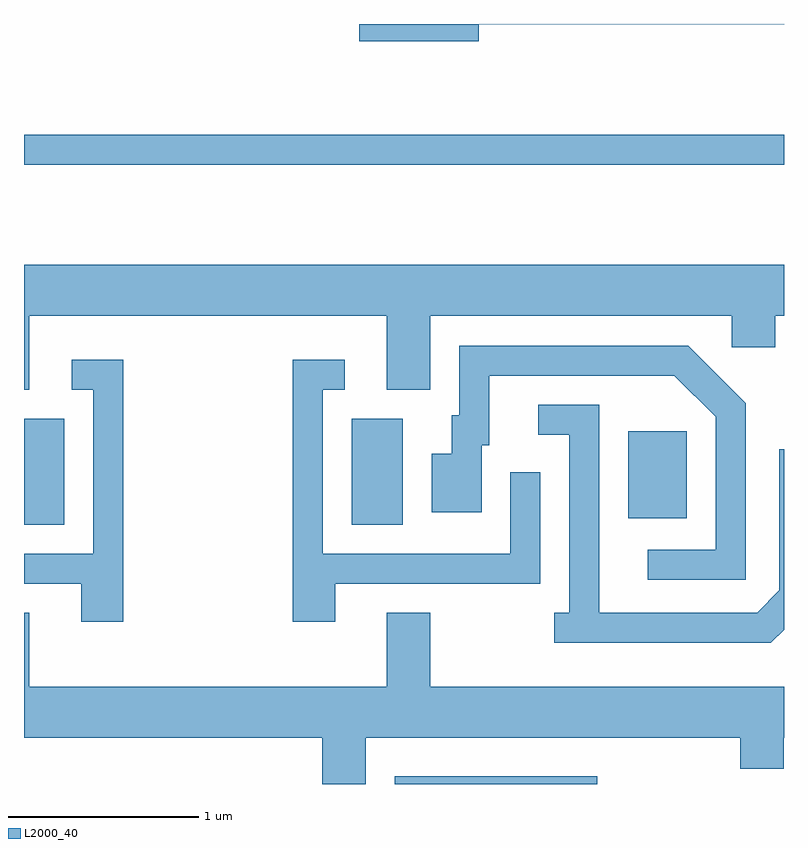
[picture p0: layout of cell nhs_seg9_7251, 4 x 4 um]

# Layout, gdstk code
import gdstk
lib = gdstk.Library(unit=1e-6, precision=1e-09)
def R(c, l, rs):  # rectangles x0, y0, x1, y1
    for r in rs: c.add(gdstk.rectangle(r[:2], r[2:], *l))
def P(c, l, *ps):  # polygons
    for p in ps: c.add(gdstk.Polygon(p, *l))
L2000_40 = (2000, 40)

nhs_seg9_7251 = lib.new_cell('nhs_seg9_7251')
R(nhs_seg9_7251, L2000_40, [(401.561,2020.432,402.629,2020.474), (399.611,2021.796,399.824,2022.354), (401.336,2021.796,401.604,2022.354), (402.791,2021.831,403.099,2022.289), (399.611,2023.691,403.611,2023.849)])
P(nhs_seg9_7251, L2000_40, [(402.004,2024.431),(403.611,2024.431),(403.611,2024.432),(401.376,2024.432),(401.376,2024.341),(402.004,2024.341)],
  [(399.639,2022.896),(401.521,2022.896),(401.521,2022.506),(401.749,2022.506),(401.749,2022.896),(403.336,2022.896),(403.336,2022.731),(403.564,2022.731),(403.564,2022.896),(403.611,2022.896),(403.611,2023.164),(399.611,2023.164),(399.611,2022.506),(399.639,2022.506)],
  [(403.409,2022.437),(403.107,2022.739),(401.901,2022.739),(401.901,2022.374),(401.861,2022.374),(401.861,2022.169),(401.756,2022.169),(401.756,2021.861),(402.019,2021.861),(402.019,2022.216),(402.059,2022.216),(402.059,2022.581),(403.034,2022.581),(403.251,2022.364),(403.251,2021.664),(402.893,2021.664),(402.893,2021.506),(403.409,2021.506)],
  [(400.134,2022.664),(399.863,2022.664),(399.863,2022.506),(399.976,2022.506),(399.976,2021.644),(399.611,2021.644),(399.611,2021.486),(399.911,2021.486),(399.911,2021.286),(400.134,2021.286)],
  [(401.249,2021.486),(402.329,2021.486),(402.329,2022.073),(402.171,2022.073),(402.171,2021.644),(401.184,2021.644),(401.184,2022.506),(401.298,2022.506),(401.298,2022.664),(401.026,2022.664),(401.026,2021.286),(401.249,2021.286)],
  [(403.611,2021.245),(403.611,2022.193),(403.586,2022.193),(403.586,2021.452),(403.469,2021.334),(402.639,2021.334),(402.639,2022.429),(402.318,2022.429),(402.318,2022.271),(402.481,2022.271),(402.481,2021.334),(402.403,2021.334),(402.403,2021.176),(403.542,2021.176)],
  [(401.409,2020.676),(403.381,2020.676),(403.381,2020.511),(403.609,2020.511),(403.609,2020.676),(403.611,2020.676),(403.611,2020.944),(401.749,2020.944),(401.749,2021.334),(401.521,2021.334),(401.521,2020.944),(399.639,2020.944),(399.639,2021.334),(399.611,2021.334),(399.611,2020.676),(401.181,2020.676),(401.181,2020.432),(401.409,2020.432)])

lib.write_gds('nhs_seg9_7251.gds')
